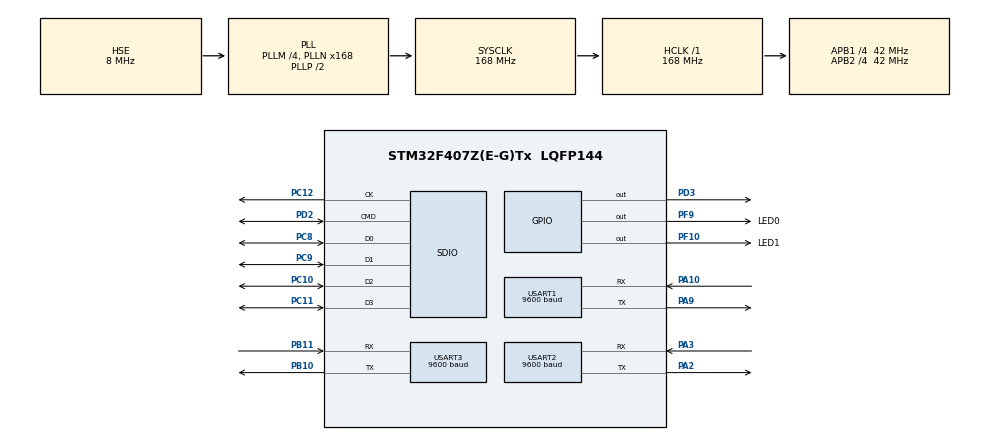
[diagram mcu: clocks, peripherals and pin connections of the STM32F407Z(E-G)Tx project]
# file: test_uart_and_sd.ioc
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Dma.Request0=SDIO_TX
Dma.Request1=SDIO_RX
Dma.SDIO_RX.1.Direction=DMA_PERIPH_TO_MEMORY
Dma.SDIO_RX.1.FIFOMode=DMA_FIFOMODE_ENABLE
Dma.SDIO_RX.1.FIFOThreshold=DMA_FIFO_THRESHOLD_FULL
Dma.SDIO_RX.1.Instance=DMA2_Stream6
Dma.SDIO_RX.1.MemBurst=DMA_MBURST_INC4
Dma.SDIO_RX.1.MemDataAlignment=DMA_MDATAALIGN_WORD
Dma.SDIO_RX.1.MemInc=DMA_MINC_ENABLE
Dma.SDIO_RX.1.Mode=DMA_PFCTRL
Dma.SDIO_RX.1.PeriphBurst=DMA_PBURST_INC4
Dma.SDIO_RX.1.PeriphDataAlignment=DMA_PDATAALIGN_WORD
Dma.SDIO_RX.1.PeriphInc=DMA_PINC_DISABLE
Dma.SDIO_RX.1.Priority=DMA_PRIORITY_LOW
Dma.SDIO_TX.0.Direction=DMA_MEMORY_TO_PERIPH
Dma.SDIO_TX.0.FIFOMode=DMA_FIFOMODE_ENABLE
Dma.SDIO_TX.0.FIFOThreshold=DMA_FIFO_THRESHOLD_FULL
Dma.SDIO_TX.0.Instance=DMA2_Stream3
Dma.SDIO_TX.0.MemBurst=DMA_MBURST_INC4
Dma.SDIO_TX.0.MemDataAlignment=DMA_MDATAALIGN_WORD
Dma.SDIO_TX.0.MemInc=DMA_MINC_ENABLE
Dma.SDIO_TX.0.Mode=DMA_PFCTRL
Dma.SDIO_TX.0.PeriphBurst=DMA_PBURST_INC4
Dma.SDIO_TX.0.PeriphDataAlignment=DMA_PDATAALIGN_WORD
Dma.SDIO_TX.0.PeriphInc=DMA_PINC_DISABLE
Dma.SDIO_TX.0.Priority=DMA_PRIORITY_LOW
FATFS._CODE_PAGE=850
FATFS._USE_LFN=1
Mcu.Family=STM32F4
Mcu.Name=STM32F407Z(E-G)Tx
Mcu.Package=LQFP144
NVIC.DMA2_Stream3_IRQn=true\:2\:0\:true\:false\:true\:false
NVIC.DMA2_Stream6_IRQn=true\:2\:0\:true\:false\:true\:false
NVIC.PriorityGroup=NVIC_PRIORITYGROUP_4
NVIC.SDIO_IRQn=true\:0\:0\:false\:false\:true\:true
PA10.Mode=Asynchronous
PA10.Signal=USART1_RX
PA2.Mode=Asynchronous
PA2.Signal=USART2_TX
PA3.Mode=Asynchronous
PA3.Signal=USART2_RX
PA9.Mode=Asynchronous
PA9.Signal=USART1_TX
PB10.Mode=Asynchronous
PB10.Signal=USART3_TX
PB11.Mode=Asynchronous
PB11.Signal=USART3_RX
PC10.Mode=SD_4_bits_Wide_bus
PC10.Signal=SDIO_D2
PC11.Mode=SD_4_bits_Wide_bus
PC11.Signal=SDIO_D3
PC12.Mode=SD_4_bits_Wide_bus
PC12.Signal=SDIO_CK
PC14-OSC32_IN.Mode=LSE-External-Oscillator
PC14-OSC32_IN.Signal=RCC_OSC32_IN
PC15-OSC32_OUT.Mode=LSE-External-Oscillator
PC15-OSC32_OUT.Signal=RCC_OSC32_OUT
PC8.Mode=SD_4_bits_Wide_bus
PC8.Signal=SDIO_D0
PC9.Mode=SD_4_bits_Wide_bus
PC9.Signal=SDIO_D1
PD2.Mode=SD_4_bits_Wide_bus
PD2.Signal=SDIO_CMD
PD3.GPIO_Speed=GPIO_SPEED_FREQ_HIGH
PD3.Signal=GPIO_Output
PF10.GPIO_Label=LED1
PF10.Signal=GPIO_Output
PF9.GPIO_Label=LED0
PF9.Signal=GPIO_Output
PH0-OSC_IN.Mode=HSE-External-Oscillator
PH0-OSC_IN.Signal=RCC_OSC_IN
PH1-OSC_OUT.Mode=HSE-External-Oscillator
PH1-OSC_OUT.Signal=RCC_OSC_OUT
ProjectManager.HeapSize=0x800
ProjectManager.StackSize=0x1000
ProjectManager.TargetToolchain=MDK-ARM V4
RCC.48MHZClocksFreq_Value=48000000
RCC.AHBFreq_Value=168000000
RCC.APB1CLKDivider=RCC_HCLK_DIV4
RCC.APB1Freq_Value=42000000
RCC.APB1TimFreq_Value=84000000
RCC.APB2CLKDivider=RCC_HCLK_DIV4
RCC.APB2Freq_Value=42000000
RCC.APB2TimFreq_Value=84000000
RCC.CortexFreq_Value=168000000
RCC.HCLKFreq_Value=168000000
RCC.HSE_VALUE=8000000
RCC.HSI_VALUE=16000000
RCC.PLLM=4
RCC.PLLN=168
RCC.PLLQ=7
RCC.PLLSourceVirtual=RCC_PLLSOURCE_HSE
RCC.RCC_RTC_Clock_Source=RCC_RTCCLKSOURCE_LSE
RCC.RCC_RTC_Clock_SourceVirtual=RCC_RTCCLKSOURCE_LSE
RCC.SYSCLKFreq_VALUE=168000000
RCC.SYSCLKSource=RCC_SYSCLKSOURCE_PLLCLK
RCC.VCOOutputFreq_Value=336000000
RTC.Date=5
RTC.Format=RTC_FORMAT_BIN
RTC.Hours=2
RTC.Minutes=6
RTC.Month=RTC_MONTH_FEBRUARY
RTC.WeekDay=RTC_WEEKDAY_TUESDAY
RTC.Year=19
SDIO.ClockDiv=12
USART1.BaudRate=9600
USART1.VirtualMode=VM_ASYNC
USART2.BaudRate=9600
USART2.VirtualMode=VM_ASYNC
USART3.BaudRate=9600
USART3.VirtualMode=VM_ASYNC
VP_FATFS_VS_SDIO.Mode=SDIO
VP_RTC_VS_RTC_Activate.Mode=RTC_Enabled
VP_RTC_VS_RTC_Calendar.Mode=RTC_Calendar
VP_RTC_VS_RTC_WakeUp_intern.Mode=WakeUp
board=custom

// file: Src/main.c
/* USER CODE BEGIN Header */
/**
  ******************************************************************************
  * @file           : main.c
  * @brief          : Main program body
  ******************************************************************************
  * This notice applies to any and all portions of this file
  * that are not between comment pairs USER CODE BEGIN and
  * USER CODE END. Other portions of this file, whether
  * inserted by the user or by software development tools
  * are owned by their respective copyright owners.
  *
  * Copyright (c) 2019 STMicroelectronics International N.V.
  * All rights reserved.
  *
  * Redistribution and use in source and binary forms, with or without
  * modification, are permitted, provided that the following conditions are met:
  *
  * 1. Redistribution of source code must retain the above copyright notice,
  *    this list of conditions and the following disclaimer.
  * 2. Redistributions in binary form must reproduce the above copyright notice,
  *    this list of conditions and the following disclaimer in the documentation
  *    and/or other materials provided with the distribution.
  * 3. Neither the name of STMicroelectronics nor the names of other
  *    contributors to this software may be used to endorse or promote products
  *    derived from this software without specific written permission.
  * 4. This software, including modifications and/or derivative works of this
  *    software, must execute solely and exclusively on microcontroller or
  *    microprocessor devices manufactured by or for STMicroelectronics.
  * 5. Redistribution and use of this software other than as permitted under
  *    this license is void and will automatically terminate your rights under
  *    this license.
  *
  * THIS SOFTWARE IS PROVIDED BY STMICROELECTRONICS AND CONTRIBUTORS "AS IS"
  * AND ANY EXPRESS, IMPLIED OR STATUTORY WARRANTIES, INCLUDING, BUT NOT
  * LIMITED TO, THE IMPLIED WARRANTIES OF MERCHANTABILITY, FITNESS FOR A
  * PARTICULAR PURPOSE AND NON-INFRINGEMENT OF THIRD PARTY INTELLECTUAL PROPERTY
  * RIGHTS ARE DISCLAIMED TO THE FULLEST EXTENT PERMITTED BY LAW. IN NO EVENT
  * SHALL STMICROELECTRONICS OR CONTRIBUTORS BE LIABLE FOR ANY DIRECT, INDIRECT,
  * INCIDENTAL, SPECIAL, EXEMPLARY, OR CONSEQUENTIAL DAMAGES (INCLUDING, BUT NOT
  * LIMITED TO, PROCUREMENT OF SUBSTITUTE GOODS OR SERVICES; LOSS OF USE, DATA,
  * OR PROFITS; OR BUSINESS INTERRUPTION) HOWEVER CAUSED AND ON ANY THEORY OF
  * LIABILITY, WHETHER IN CONTRACT, STRICT LIABILITY, OR TORT (INCLUDING
  * NEGLIGENCE OR OTHERWISE) ARISING IN ANY WAY OUT OF THE USE OF THIS SOFTWARE,
  * EVEN IF ADVISED OF THE POSSIBILITY OF SUCH DAMAGE.
  *
  ******************************************************************************
  */
/* USER CODE END Header */

#include "main.h"
#include "fatfs.h"

RTC_HandleTypeDef hrtc;

SD_HandleTypeDef hsd;
DMA_HandleTypeDef hdma_sdio_tx;
DMA_HandleTypeDef hdma_sdio_rx;

UART_HandleTypeDef huart1;
UART_HandleTypeDef huart2;
UART_HandleTypeDef huart3;

void SystemClock_Config(void);
static void MX_GPIO_Init(void);
static void MX_DMA_Init(void);
static void MX_SDIO_SD_Init(void);
static void MX_USART1_UART_Init(void);
static void MX_USART2_UART_Init(void);
static void MX_USART3_UART_Init(void);
static void MX_RTC_Init(void);
/* USER CODE BEGIN PFP */
#ifdef __GNUC__

  #define PUTCHAR_PROTOTYPE int __io_putchar(int ch)
#else
  #define PUTCHAR_PROTOTYPE int fputc(int ch, FILE *f)
#endif
//redirect printf
PUTCHAR_PROTOTYPE{
  HAL_UART_Transmit(&huart1, (uint8_t *)&ch, 1, 0xFFFF);
  return ch;
}

void PrintTime();

/* USER CODE END PFP */

/* USER CODE BEGIN 0 */
uint8_t fac_us;

void delay_init(uint8_t SYSCLK){
	#if SYSTEM_SUPPORT_OS
		uint32_t reload;
	#endif

	HAL_SYSTICK_CLKSourceConfig(SYSTICK_CLKSOURCE_HCLK);
	fac_us=SYSCLK;

	#if SYSTEM_SUPPORT_OS
		reload=SYSCLK;
		reload*=1000000/delay_ostickspersec;
		fac_ms=1000/delay_ostickspersec;
		SysTick->CTRL|=SysTick_CTRL_TICKINT_Msk;
		SysTick->LOAD=reload;
		SysTick->CTRL|=SysTick_CTRL_ENABLE_Msk;
	#else
	#endif
}

void delay_us(uint32_t nus){
	uint32_t ticks;
	uint32_t told,tnow,tcnt=0;
	uint32_t reload=SysTick->LOAD;
	ticks=nus*fac_us;
	told=SysTick->VAL;
	while(1) {
		tnow=SysTick->VAL;
		if(tnow!=told) {
			if(tnow<told)tcnt+=told-tnow;
			else tcnt+=reload-tnow+told;
			told=tnow;
			if(tcnt>=ticks)break;
		}
	};
}

RTC_DateTypeDef sDate;
RTC_TimeTypeDef sTime;
uint8_t second_tmp = 0;

void LED0_off(){HAL_GPIO_WritePin(LED0_GPIO_Port, LED0_Pin, GPIO_PIN_SET);}
void LED1_off(){HAL_GPIO_WritePin(LED1_GPIO_Port, LED1_Pin, GPIO_PIN_SET);}

void LED0_on(){HAL_GPIO_WritePin(LED0_GPIO_Port, LED0_Pin, GPIO_PIN_RESET);}
void LED1_on(){HAL_GPIO_WritePin(LED1_GPIO_Port, LED1_Pin, GPIO_PIN_RESET);}

uint8_t PMSensorBuffer[128];
uint8_t PMSensor[17];
int TOT = 0, PMSensorLen;

//DHT22/AM2303 Sensor

uint8_t Rh_byte1, Rh_byte2, Temp_byte1, Temp_byte2;
uint16_t sum, RH, TEMP;
int temp_low, temp_high, rh_low, rh_high;
char temp_char1[2], temp_char2, rh_char1[2], rh_char2;
uint8_t check = 0;
GPIO_InitTypeDef GPIO_InitStruct;

void set_gpio_output(void){

  GPIO_InitStruct.Pin = GPIO_PIN_1;
  GPIO_InitStruct.Mode = GPIO_MODE_OUTPUT_PP;
  GPIO_InitStruct.Speed = GPIO_SPEED_FREQ_LOW;
  HAL_GPIO_Init(GPIOA, &GPIO_InitStruct);

}

void set_gpio_input(void){

  GPIO_InitStruct.Pin = GPIO_PIN_1;
  GPIO_InitStruct.Mode = GPIO_MODE_INPUT;
  GPIO_InitStruct.Pull = GPIO_NOPULL;
  HAL_GPIO_Init(GPIOA, &GPIO_InitStruct);

}

void DHT22_start(void){

	set_gpio_output();
	HAL_GPIO_WritePin(GPIOA, GPIO_PIN_1, 0);
	delay_us (500);
	HAL_GPIO_WritePin(GPIOA, GPIO_PIN_1, 1);
	delay_us(30);
	set_gpio_input();

}

void check_response (void){

	delay_us(40);
	if(!(HAL_GPIO_ReadPin(GPIOA, GPIO_PIN_1))){
		delay_us (80);
		if((HAL_GPIO_ReadPin (GPIOA, GPIO_PIN_1)))check = 1;
	}
	while((HAL_GPIO_ReadPin (GPIOA, GPIO_PIN_1)));

}

uint8_t read_data (void){

	uint8_t i = 0,j;
	for (j=0; j<8; j++) {
		while (!(HAL_GPIO_ReadPin (GPIOA, GPIO_PIN_1)));
		delay_us (40);
		if ((HAL_GPIO_ReadPin (GPIOA, GPIO_PIN_1)) == 0)  {
			i &= ~(1 << (7 - j) );
		}
		else i |= (1 << (7 - j) );
		while ((HAL_GPIO_ReadPin (GPIOA, GPIO_PIN_1)));
	}
	return i;
}

void UpdateTemp(void){

	DHT22_start ();
	check_response ();
	Rh_byte1 = read_data ();
	Rh_byte2 = read_data ();
	Temp_byte1 = read_data ();
	Temp_byte2 = read_data ();
	sum = read_data();
	//if (sum == (Rh_byte1+Rh_byte2+Temp_byte1+Temp_byte2))
	//{
	TEMP = ((Temp_byte1<<8)|Temp_byte2);
	RH = ((Rh_byte1<<8)|Rh_byte2);
	//}
	HAL_Delay(500);
	temp_low = TEMP/10;
	temp_high = TEMP%10;

	rh_low = RH/10;
	rh_high = RH%10;
	PrintTime();
	printf("[DHT22_STATE] Success!\n");

	return ;
}

struct PMSensor{
	int PM1_0_CF, PM2_5_CF, PM10_CF, PM1_0, PM2_5, PM10;
}PMResult;

void ListenPMSensor(void){
	memset(PMSensorBuffer, 0, sizeof(PMSensorBuffer));
	memset(PMSensor, 0, sizeof(PMSensor));

	HAL_UART_Receive(&huart2, (uint8_t*)PMSensorBuffer, 128, 3200);
	HAL_Delay(800);

	//printf("", PMSensorBuffer);
	for(int i = 0; i <= 127; ++i){
		//printf("%c \n", PMSensorBuffer[i]);
		if(PMSensorBuffer[i] == 'B' && PMSensorBuffer[i+1] == 'M'){
			for(PMSensorLen = 0; PMSensorLen <= 31; ++PMSensorLen){
				PMSensor[PMSensorLen] = PMSensorBuffer[i + PMSensorLen];
			}
			break;
		}
	}

	HAL_Delay(2000);
	return ;
}

void GetPMSensor(void){
	uint16_t Buffer_Len;
	Buffer_Len = (uint16_t)((PMSensor[2] << 8) | PMSensor[3]);
	if(Buffer_Len == 28) {

		PMResult.PM1_0_CF = (uint16_t)((PMSensor[4]<<8) | PMSensor[5]);
		PMResult.PM2_5_CF = (uint16_t)((PMSensor[6]<<8) | PMSensor[7]);
		PMResult.PM10_CF 	= (uint16_t)((PMSensor[8]<<8) | PMSensor[9]);
		PMResult.PM1_0 	= (uint16_t)((PMSensor[10]<<8) | PMSensor[11]);
		PMResult.PM2_5 	= (uint16_t)((PMSensor[12]<<8) | PMSensor[13]);
		PMResult.PM10 	= (uint16_t)((PMSensor[14]<<8) | PMSensor[15]);

	}
	else if(Buffer_Len == 20){

		PMResult.PM1_0_CF = (uint16_t)((PMSensor[4]<<8) | PMSensor[5]);
		PMResult.PM2_5_CF = (uint16_t)((PMSensor[6]<<8) | PMSensor[7]);
		PMResult.PM10_CF 	= (uint16_t)((PMSensor[8]<<8) | PMSensor[9]);
		PMResult.PM1_0 	= (uint16_t)((PMSensor[10]<<8) | PMSensor[11]);
		PMResult.PM2_5 	= (uint16_t)((PMSensor[12]<<8) | PMSensor[13]);
		PMResult.PM10 	= (uint16_t)((PMSensor[14]<<8) | PMSensor[15]);

	}
	return ;

}

int CheckPMSensor(void){

	uint16_t 	Cal_CheckSum;
	uint16_t 	Buffer_CheckSum;
	uint16_t 	Buffer_Len;
	uint8_t 	i;

	int Result = 0;

	if((PMSensor[0] == 'B')&&(PMSensor[1] == 'M')){
		Buffer_Len = (uint16_t)((PMSensor[2] << 8) | PMSensor[3]);

		Buffer_CheckSum = (uint16_t)((PMSensor[Buffer_Len + 2] << 8) | PMSensor[Buffer_Len + 3]);

		Cal_CheckSum = 0;
		for(i=0;i<(Buffer_Len + 2);i++){
			Cal_CheckSum += PMSensor[i];
		}

		if(Cal_CheckSum == Buffer_CheckSum)
			Result = 1;
	}
	return Result;
}

//CO2 sensor
uint8_t CO2SensorBuffer[12];
uint8_t CO2Sensor[12];

int CO2SensorLen = 0, CO2SensorResult = 0;

void ListenCO2Sensor(void){
	memset(CO2SensorBuffer, 0, sizeof(CO2SensorBuffer));
	memset(CO2Sensor, 0, sizeof(CO2Sensor));

	uint8_t CO2Transmit[12] = {0x42, 0x4D, 0xE3, 0x00, 0x00, 0x01, 0x72};

	HAL_UART_Transmit(&huart3, CO2Transmit, 7, 0xFFFF);
	HAL_UART_Receive(&huart3, (uint8_t*)CO2SensorBuffer, 12, 800);
	HAL_Delay(800);

	for(int i = 0; i <= 11; ++i){
		//printf("%c", CO2SensorBuffer[i]);
		if(CO2SensorBuffer[i] == 'B' && CO2SensorBuffer[i+1] == 'M'){
			for(CO2SensorLen = 0; CO2SensorLen <= 11; ++CO2SensorLen){
				CO2Sensor[CO2SensorLen] = CO2SensorBuffer[i + CO2SensorLen];
			}
			break;
		}
		HAL_Delay(500);
	}
	HAL_Delay(2000);
	return ;
}

int CheckCO2Sensor(void){

	uint16_t 	Cal_CheckSum;
	uint16_t 	Buffer_CheckSum;
	uint16_t 	Buffer_Len;
	uint8_t 	i;

	int Result = 0;

	if((CO2Sensor[0] == 'B')&&(CO2Sensor[1] == 'M')){

		Buffer_Len = (uint16_t)((CO2Sensor[2] << 8) | CO2Sensor[3]);
		//printf("LEN:%d \n",Buffer_Len);
		Buffer_CheckSum = (uint16_t)((CO2Sensor[Buffer_Len + 2] << 8) | CO2Sensor[Buffer_Len + 3]);

		Cal_CheckSum = 0;
		for(i=0;i<(Buffer_Len + 2);i++){
			Cal_CheckSum += CO2Sensor[i];
		}
		//printf("CALSUM:%d, BUFFSUM:%d \n", Cal_CheckSum, Buffer_CheckSum);
		if(Cal_CheckSum == Buffer_CheckSum)
			Result = 1;
	}
	return Result;
}

void GetCO2Sensor(void){
	CO2SensorResult = (uint16_t)((CO2Sensor[4]<<8) | CO2Sensor[5]);
	return ;
}

FATFS SDFatFs;
FIL MyFile;

void WriteFile(void){

	LED0_off();
	LED1_off();

	uint32_t byteswritten;
	char nowdate[21];
	sprintf(nowdate, "[20%02d-%02d-%02d %02d:%02d:%02d]\n",
				sDate.Year,
				sDate.Month,
				sDate.Date,
				sTime.Hours,
				sTime.Minutes,
				sTime.Seconds
	);
	char wtext[150] = " ";
	sprintf(wtext, "%sTemp : _%d.%d_ degree Celsius\nRH : _%d.%d_  %% \nCO2 : _%04d_ ppm\nPM2.5 : _%04d_ ug/m3\nPM10 : _%04d_ ug/m3\n",
		nowdate,
		temp_low,
		temp_high,
		rh_low,
		rh_high,
		CO2SensorResult,
		PMResult.PM2_5,
		PMResult.PM10
	);
	char FileName[50] = " ";

	sprintf(FileName, "Sensor_20%02d-%02d-%02d-%02d-%02d_.txt",
		sDate.Year,
		sDate.Month,
		sDate.Date,
		sTime.Hours,
		sTime.Minutes
	);

	printf("%s\nFileName:%s\n", wtext, FileName);
	if(f_mount(&SDFatFs, (TCHAR const*)SDPath, 0) == FR_OK){
		PrintTime();
		printf("[SD_FATFS_STAT] Mount Successful!\n");
		if(f_open(&MyFile, (TCHAR const*)FileName, FA_CREATE_ALWAYS | FA_WRITE) == FR_OK){
			PrintTime();
			printf("[SD_FATFS_STAT] Open File Successful!\n");
			FRESULT res = f_write(&MyFile, wtext, (unsigned int)strlen(wtext), (void *)&byteswritten);
			if((byteswritten == 0) || (res != FR_OK)){
				PrintTime();
				printf("[SD_FATFS_STAT] Write Failed!\n");
			}
			else{
				f_close(&MyFile);
				PrintTime();
				printf("[SD_FATFS_STAT] Write Successful!\n");
			}
		}
		else{
				PrintTime();
				printf("[SD_FATFS_STAT] Open File Failed!\n");
		}
	}else{
		PrintTime();
		printf("[SD_FATFS_STAT] Mount Failed!\n");
	}
	return ;

}

void PrintTime(void){

	printf("[20%02d-%02d-%02d %02d:%02d:%02d]",
		sDate.Year,
		sDate.Month,
		sDate.Date,
		sTime.Hours,
		sTime.Minutes,
		sTime.Seconds
	);
	return ;

}

void CheckState(void){

	ListenCO2Sensor();
	if(CheckCO2Sensor()){
		PrintTime();
		printf("[CO2_SENSOR_STATE] Success!\n");
		GetCO2Sensor();
	}

	else{
		LED0_off();
		PrintTime();
		printf("[CO2_SENSOR_STATE] Error!\n");
	}

	/*PM SENSOR READ*/
	HAL_Delay(100);
	ListenPMSensor();
	if(CheckPMSensor()){
		PrintTime();
		printf("[PM_SENSOR_STATE] Success!\n");
		GetPMSensor();
	}
	else{
		LED1_off();
		PrintTime();
		printf("[PM_SENSOR_STATE] Error!\n");
	}

	PrintTime();
	printf("\nTemp : %d.%d degree Celsius\nRH : %d.%d % \nCO2: %d ppm \nPM2.5: %d ug/m^3\nPM10: %d ug/m^3\n",
		temp_low,
		temp_high,
		rh_low,
		rh_high,
		CO2SensorResult,
		PMResult.PM2_5,
		PMResult.PM10
	);
	UpdateTemp();
	LED0_on();
	LED1_on();
	HAL_Delay(100);
	LED0_off();
	LED1_off();
	HAL_Delay(100);
	LED0_on();
	LED1_on();
	//WriteFile(filename);
	HAL_Delay(1000);

	return ;

}

/* USER CODE END 0 */

int main(void){

  /* MCU Configuration--------------------------------------------------------*/

  /* Reset of all peripherals, Initializes the Flash interface and the Systick. */
  HAL_Init();

  /* Configure the system clock */
  SystemClock_Config();

  /* Initialize all configured peripherals */
  MX_GPIO_Init();
  MX_DMA_Init();
  MX_SDIO_SD_Init();
  MX_USART1_UART_Init();
  MX_USART2_UART_Init();
  MX_USART3_UART_Init();
  MX_FATFS_Init();
  MX_RTC_Init();
  /* USER CODE BEGIN 2 */
	delay_init(168);
  /* USER CODE END 2 */

	HAL_Delay(1000 * 60);

  while (1){

		/* USER CODE BEGIN 3 */
		TOT++;
		LED0_on();
		LED1_on();
		HAL_Delay(100);
		LED0_off();
		LED1_off();
		HAL_Delay(100);
		LED0_on();
		LED1_on();
		HAL_Delay(100);
		LED0_off();
		LED1_off();
		HAL_Delay(100);
		LED0_on();
		LED1_on();
		HAL_Delay(100);
		LED0_off();
		LED1_off();
		HAL_Delay(100);
		LED0_on();
		LED1_on();
		HAL_Delay(500);

		HAL_RTC_GetTime(&hrtc, &sTime, RTC_FORMAT_BIN);
		HAL_RTC_GetDate(&hrtc, &sDate, RTC_FORMAT_BIN);
		if(second_tmp != sTime.Seconds){
			second_tmp = sTime.Seconds;
			//printf("20%d%d-%d%d-%d%d\n", sDate.Year/10%10, sDate.Year%10, sDate.Month/10%10, sDate.Month%10, sDate.Date/10%10, sDate.Date%10);
			printf("[20%02d-%02d-%02d %02d:%02d:%02d] LOOP = %d\n",
				sDate.Year,
				sDate.Month,
				sDate.Date,
				sTime.Hours,
				sTime.Minutes,
				sTime.Seconds,
				TOT
			);
		}

		CheckState();
		if(TOT > 1) {
			WriteFile();
			LED0_on();
			LED1_on();
			HAL_Delay(100);
			LED0_off();
			LED1_off();
			HAL_Delay(100);
			LED0_on();
			LED1_on();
			HAL_Delay(100);
			LED0_off();
			LED1_off();
			HAL_Delay(100);
			HAL_Delay(1000 * 60);
		}
		//

  }
  /* USER CODE END 3 */
}

void SystemClock_Config(void){
  RCC_OscInitTypeDef RCC_OscInitStruct = {0};
  RCC_ClkInitTypeDef RCC_ClkInitStruct = {0};
  RCC_PeriphCLKInitTypeDef PeriphClkInitStruct = {0};

  /**Configure the main internal regulator output voltage
  */
  __HAL_RCC_PWR_CLK_ENABLE();
  __HAL_PWR_VOLTAGESCALING_CONFIG(PWR_REGULATOR_VOLTAGE_SCALE1);
  /**Initializes the CPU, AHB and APB busses clocks
  */
  RCC_OscInitStruct.OscillatorType = RCC_OSCILLATORTYPE_HSE|RCC_OSCILLATORTYPE_LSE;
  RCC_OscInitStruct.HSEState = RCC_HSE_ON;
  RCC_OscInitStruct.LSEState = RCC_LSE_ON;
  RCC_OscInitStruct.PLL.PLLState = RCC_PLL_ON;
  RCC_OscInitStruct.PLL.PLLSource = RCC_PLLSOURCE_HSE;
  RCC_OscInitStruct.PLL.PLLM = 4;
  RCC_OscInitStruct.PLL.PLLN = 168;
  RCC_OscInitStruct.PLL.PLLP = RCC_PLLP_DIV2;
  RCC_OscInitStruct.PLL.PLLQ = 7;
  if (HAL_RCC_OscConfig(&RCC_OscInitStruct) != HAL_OK){
    Error_Handler();
  }
  /**Initializes the CPU, AHB and APB busses clocks
  */
  RCC_ClkInitStruct.ClockType = RCC_CLOCKTYPE_HCLK|RCC_CLOCKTYPE_SYSCLK
                              |RCC_CLOCKTYPE_PCLK1|RCC_CLOCKTYPE_PCLK2;
  RCC_ClkInitStruct.SYSCLKSource = RCC_SYSCLKSOURCE_PLLCLK;
  RCC_ClkInitStruct.AHBCLKDivider = RCC_SYSCLK_DIV1;
  RCC_ClkInitStruct.APB1CLKDivider = RCC_HCLK_DIV4;
  RCC_ClkInitStruct.APB2CLKDivider = RCC_HCLK_DIV4;

  if (HAL_RCC_ClockConfig(&RCC_ClkInitStruct, FLASH_LATENCY_5) != HAL_OK) {
    Error_Handler();
  }
  PeriphClkInitStruct.PeriphClockSelection = RCC_PERIPHCLK_RTC;
  PeriphClkInitStruct.RTCClockSelection = RCC_RTCCLKSOURCE_LSE;
  if (HAL_RCCEx_PeriphCLKConfig(&PeriphClkInitStruct) != HAL_OK) {
    Error_Handler();
  }
}

static void MX_RTC_Init(void) {

  RTC_TimeTypeDef sTime = {0};
  RTC_DateTypeDef sDate = {0};

  /**Initialize RTC Only
  */
  hrtc.Instance = RTC;
  hrtc.Init.HourFormat = RTC_HOURFORMAT_24;
  hrtc.Init.AsynchPrediv = 127;
  hrtc.Init.SynchPrediv = 255;
  hrtc.Init.OutPut = RTC_OUTPUT_DISABLE;
  hrtc.Init.OutPutPolarity = RTC_OUTPUT_POLARITY_HIGH;
  hrtc.Init.OutPutType = RTC_OUTPUT_TYPE_OPENDRAIN;
  if (HAL_RTC_Init(&hrtc) != HAL_OK){
    Error_Handler();
  }

  /**Initialize RTC and set the Time and Date
  */
	/*
  sTime.Hours = 2;
  sTime.Minutes = 6;
  sTime.Seconds = 0;
  sTime.DayLightSaving = RTC_DAYLIGHTSAVING_NONE;
  sTime.StoreOperation = RTC_STOREOPERATION_RESET;

  if (HAL_RTC_SetTime(&hrtc, &sTime, RTC_FORMAT_BIN) != HAL_OK)
  {
    Error_Handler();
  }
  sDate.WeekDay = RTC_WEEKDAY_TUESDAY;
  sDate.Month = RTC_MONTH_FEBRUARY;
  sDate.Date = 5;
  sDate.Year = 19;

  if (HAL_RTC_SetDate(&hrtc, &sDate, RTC_FORMAT_BIN) != HAL_OK)
  {
    Error_Handler();
  }
	*/
  /**Enable the WakeUp
  */
  if (HAL_RTCEx_SetWakeUpTimer(&hrtc, 0, RTC_WAKEUPCLOCK_RTCCLK_DIV16) != HAL_OK){
    Error_Handler();
  }

}

static void MX_SDIO_SD_Init(void) {

  hsd.Instance = SDIO;
  hsd.Init.ClockEdge = SDIO_CLOCK_EDGE_RISING;
  hsd.Init.ClockBypass = SDIO_CLOCK_BYPASS_DISABLE;
  hsd.Init.ClockPowerSave = SDIO_CLOCK_POWER_SAVE_DISABLE;
  hsd.Init.BusWide = SDIO_BUS_WIDE_1B;
  hsd.Init.HardwareFlowControl = SDIO_HARDWARE_FLOW_CONTROL_DISABLE;
  hsd.Init.ClockDiv = 12;

}

static void MX_USART1_UART_Init(void) {

  huart1.Instance = USART1;
  huart1.Init.BaudRate = 9600;
  huart1.Init.WordLength = UART_WORDLENGTH_8B;
  huart1.Init.StopBits = UART_STOPBITS_1;
  huart1.Init.Parity = UART_PARITY_NONE;
  huart1.Init.Mode = UART_MODE_TX_RX;
  huart1.Init.HwFlowCtl = UART_HWCONTROL_NONE;
  huart1.Init.OverSampling = UART_OVERSAMPLING_16;
  if (HAL_UART_Init(&huart1) != HAL_OK) {
    Error_Handler();
  }

}

static void MX_USART2_UART_Init(void) {

  huart2.Instance = USART2;
  huart2.Init.BaudRate = 9600;
  huart2.Init.WordLength = UART_WORDLENGTH_8B;
  huart2.Init.StopBits = UART_STOPBITS_1;
  huart2.Init.Parity = UART_PARITY_NONE;
  huart2.Init.Mode = UART_MODE_TX_RX;
  huart2.Init.HwFlowCtl = UART_HWCONTROL_NONE;
  huart2.Init.OverSampling = UART_OVERSAMPLING_16;
  if (HAL_UART_Init(&huart2) != HAL_OK) {
    Error_Handler();
  }

}

static void MX_USART3_UART_Init(void) {

  huart3.Instance = USART3;
  huart3.Init.BaudRate = 9600;
  huart3.Init.WordLength = UART_WORDLENGTH_8B;
  huart3.Init.StopBits = UART_STOPBITS_1;
  huart3.Init.Parity = UART_PARITY_NONE;
  huart3.Init.Mode = UART_MODE_TX_RX;
  huart3.Init.HwFlowCtl = UART_HWCONTROL_NONE;
  huart3.Init.OverSampling = UART_OVERSAMPLING_16;
  if (HAL_UART_Init(&huart3) != HAL_OK) {
    Error_Handler();
  }

}

static void MX_DMA_Init(void)  {
  /* DMA controller clock enable */
  __HAL_RCC_DMA2_CLK_ENABLE();

  /* DMA interrupt init */
  /* DMA2_Stream3_IRQn interrupt configuration */
  HAL_NVIC_SetPriority(DMA2_Stream3_IRQn, 2, 0);
  HAL_NVIC_EnableIRQ(DMA2_Stream3_IRQn);
  /* DMA2_Stream6_IRQn interrupt configuration */
  HAL_NVIC_SetPriority(DMA2_Stream6_IRQn, 2, 0);
  HAL_NVIC_EnableIRQ(DMA2_Stream6_IRQn);

}

static void MX_GPIO_Init(void) {
  GPIO_InitTypeDef GPIO_InitStruct = {0};

  /* GPIO Ports Clock Enable */
  __HAL_RCC_GPIOC_CLK_ENABLE();
  __HAL_RCC_GPIOF_CLK_ENABLE();
  __HAL_RCC_GPIOH_CLK_ENABLE();
  __HAL_RCC_GPIOA_CLK_ENABLE();
  __HAL_RCC_GPIOB_CLK_ENABLE();
  __HAL_RCC_GPIOD_CLK_ENABLE();

  /*Configure GPIO pin Output Level */
  HAL_GPIO_WritePin(GPIOF, LED0_Pin|LED1_Pin, GPIO_PIN_RESET);

  /*Configure GPIO pins : LED0_Pin LED1_Pin */
  GPIO_InitStruct.Pin = LED0_Pin|LED1_Pin;
  GPIO_InitStruct.Mode = GPIO_MODE_OUTPUT_PP;
  GPIO_InitStruct.Pull = GPIO_NOPULL;
  GPIO_InitStruct.Speed = GPIO_SPEED_FREQ_LOW;
  HAL_GPIO_Init(GPIOF, &GPIO_InitStruct);

}

void Error_Handler(void) {
}

/************************ (C) COPYRIGHT STMicroelectronics *****END OF FILE****/
